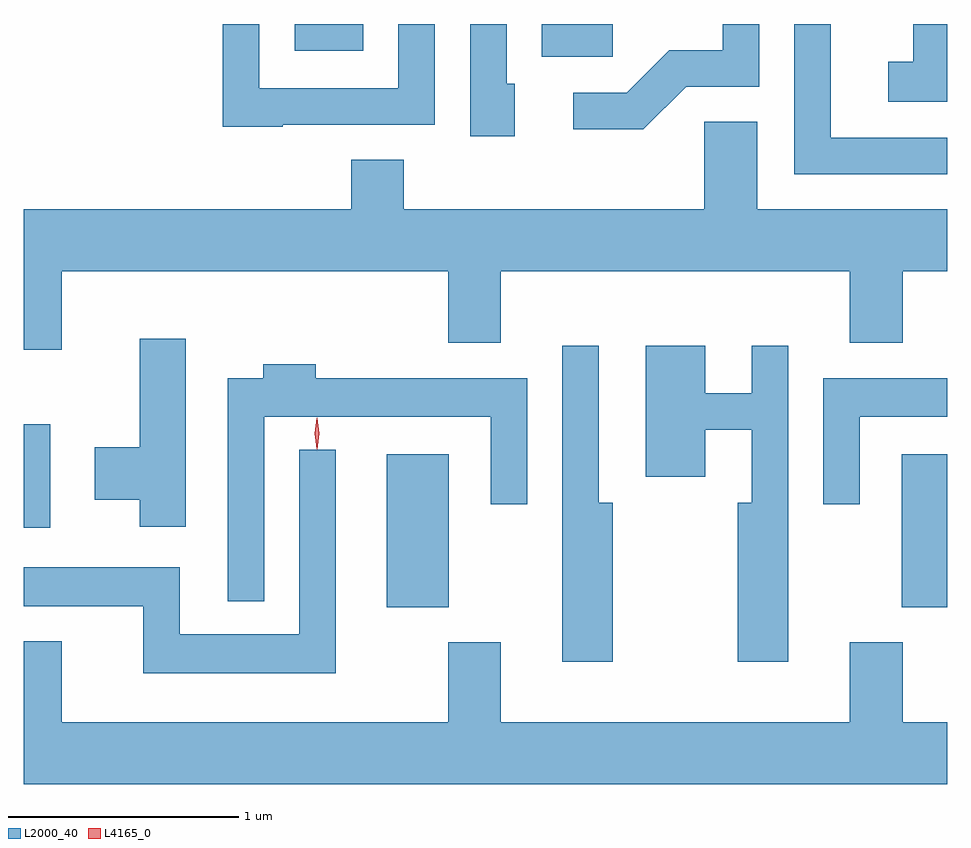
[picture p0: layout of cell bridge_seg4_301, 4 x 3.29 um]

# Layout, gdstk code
import gdstk
lib = gdstk.Library(unit=1e-6, precision=1e-09)
def R(c, l, rs):  # rectangles x0, y0, x1, y1
    for r in rs: c.add(gdstk.rectangle(r[:2], r[2:], *l))
def P(c, l, *ps):  # polygons
    for p in ps: c.add(gdstk.Polygon(p, *l))
L2000_40 = (2000, 40)
L4165_0 = (4165, 0)

bridge_seg4_301 = lib.new_cell('bridge_seg4_301')
R(bridge_seg4_301, L2000_40, [(521.986,1311.041,522.254,1311.704), (524.216,1311.041,524.413,1311.704), (520.413,1311.386,520.529,1311.834), (522.656,1313.426,522.964,1313.567), (521.586,1313.451,521.884,1313.567)])
P(bridge_seg4_301, L2000_40, [(521.535,1313.131),(522.194,1313.131),(522.194,1313.567),(522.036,1313.567),(522.036,1313.289),(521.434,1313.289),(521.434,1313.567),(521.276,1313.567),(521.276,1313.121),(521.535,1313.121)],
  [(523.282,1313.296),(523.599,1313.296),(523.599,1313.567),(523.441,1313.567),(523.441,1313.454),(523.208,1313.454),(523.024,1313.269),(522.793,1313.269),(522.793,1313.111),(523.097,1313.111)],
  [(524.413,1313.567),(524.266,1313.567),(524.266,1313.404),(524.156,1313.404),(524.156,1313.231),(524.413,1313.231)],
  [(524.413,1313.074),(523.909,1313.074),(523.909,1313.567),(523.751,1313.567),(523.751,1312.916),(524.413,1312.916)],
  [(522.539,1313.309),(522.504,1313.309),(522.504,1313.567),(522.346,1313.567),(522.346,1313.081),(522.539,1313.081)],
  [(520.579,1312.496),(522.251,1312.496),(522.251,1312.186),(522.479,1312.186),(522.479,1312.496),(523.991,1312.496),(523.991,1312.186),(524.219,1312.186),(524.219,1312.496),(524.413,1312.496),(524.413,1312.764),(523.589,1312.764),(523.589,1313.144),(523.361,1313.144),(523.361,1312.764),(522.059,1312.764),(522.059,1312.979),(521.831,1312.979),(521.831,1312.764),(520.413,1312.764),(520.413,1312.156),(520.579,1312.156)],
  [(521.114,1312.204),(520.916,1312.204),(520.916,1311.734),(520.721,1311.734),(520.721,1311.506),(520.916,1311.506),(520.916,1311.391),(521.114,1311.391)],
  [(523.724,1312.173),(523.566,1312.173),(523.566,1311.969),(523.364,1311.969),(523.364,1312.174),(523.106,1312.174),(523.106,1311.606),(523.364,1311.606),(523.364,1311.811),(523.566,1311.811),(523.566,1311.494),(523.506,1311.494),(523.506,1310.806),(523.724,1310.806)],
  [(522.964,1311.494),(522.904,1311.494),(522.904,1312.173),(522.746,1312.173),(522.746,1310.806),(522.964,1310.806)],
  [(521.454,1311.866),(522.436,1311.866),(522.436,1311.488),(522.594,1311.488),(522.594,1312.034),(521.679,1312.034),(521.679,1312.094),(521.451,1312.094),(521.451,1312.034),(521.296,1312.034),(521.296,1311.068),(521.454,1311.068)],
  [(524.034,1311.866),(524.413,1311.866),(524.413,1312.034),(523.876,1312.034),(523.876,1311.488),(524.034,1311.488)],
  [(521.764,1311.723),(521.606,1311.723),(521.606,1310.924),(521.089,1310.924),(521.089,1311.214),(520.413,1311.214),(520.413,1311.046),(520.931,1311.046),(520.931,1310.756),(521.764,1310.756)],
  [(524.413,1310.544),(524.219,1310.544),(524.219,1310.889),(523.991,1310.889),(523.991,1310.544),(522.479,1310.544),(522.479,1310.889),(522.251,1310.889),(522.251,1310.544),(520.579,1310.544),(520.579,1310.894),(520.413,1310.894),(520.413,1310.276),(524.413,1310.276)])
P(bridge_seg4_301, L4165_0, [(521.684,1311.724),(521.684,1311.724),(521.674,1311.793),(521.684,1311.863),(521.684,1311.863),(521.685,1311.863),(521.694,1311.793),(521.685,1311.724)],
  [(521.683,1311.727),(521.673,1311.794),(521.683,1311.86),(521.683,1311.86),(521.684,1311.86),(521.693,1311.794),(521.684,1311.727),(521.684,1311.727)])

lib.write_gds('bridge_seg4_301.gds')
